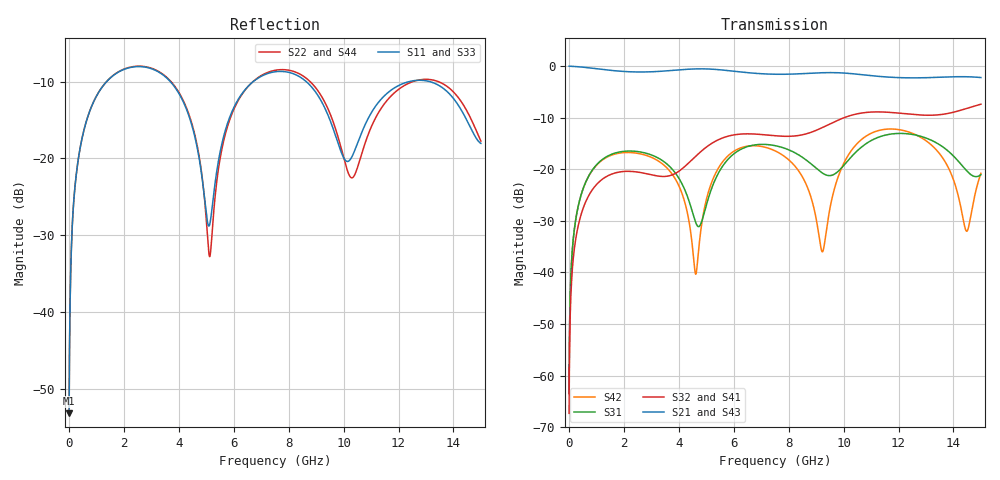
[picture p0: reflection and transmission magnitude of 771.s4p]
! Created with skrf 1.8.0 (http://scikit-rf.org).
# GHz S RI R 50.0
!freq ReS11 ImS11 ReS12 ImS12 ReS13 ImS13
! ReS14 ImS14
! ReS21 ImS21 ReS22 ImS22 ReS23 ImS23
! ReS24 ImS24
! ReS31 ImS31 ReS32 ImS32 ReS33 ImS33
! ReS34 ImS34
! ReS41 ImS41 ReS42 ImS42 ReS43 ImS43
! ReS44 ImS44
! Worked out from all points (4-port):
!   2499 points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, 5 MHz to 15 GHz, reference 50 ohm
!   strongest paths, dB at 5 MHz, 3.476 GHz, 7.19 GHz, 11.1 GHz, 15 GHz:
!     S21: 0.0, -1.0, -1.5, -1.9, -2.2
!     S43: 0.0, -1.0, -1.5, -1.9, -2.2
!     S32: -67.3, -21.4, -13.4, -8.9, -7.4
!     S41: -67.3, -21.4, -13.4, -8.9, -7.4
!     S31: -63.5, -18.6, -15.2, -14.2, -21.1
!     S42: -63.5, -19.3, -15.8, -12.8, -20.8
!   lowest |S11| = -53.1 dB at 5 MHz (marker M1), VSWR 1.00, Z = 50.2 + j0.135 ohm
!   |S11| at or under -10 dB: 3.687 GHz to 6.714 GHz (3.027 GHz wide, 58.2 % of centre); 8.636 GHz to 12.4 GHz (3.764 GHz wide, 35.8 % of centre); 13.12 GHz to end of sweep (the widest 3 of 4)
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0.005  0.00176 0.00134  0.9982 -0.00342  8.76e-05 0.000664  -8.52e-05 -0.000422
       0.9982 -0.00342  0.00176 0.00134  -8.52e-05 -0.000422  8.74e-05 0.000664
       8.76e-05 0.000664  -8.52e-05 -0.000422  0.00176 0.00134  0.9982 -0.00342
       -8.52e-05 -0.000422  8.74e-05 0.000664  0.9982 -0.00342  0.00176 0.00134
0.3126303  0.027 0.0877  0.9631 -0.2123  0.0123 0.039  -0.01 -0.0245
           0.9631 -0.2123  0.0271 0.0876  -0.01 -0.0245  0.0117 0.0392
           0.0123 0.039  -0.01 -0.0245  0.027 0.0877  0.9631 -0.2123
           -0.01 -0.0245  0.0117 0.0392  0.9631 -0.2123  0.0271 0.0876
1.519383  0.2858 0.1748  0.5151 -0.7493  0.1301 0.0477  -0.0889 -0.00113
          0.5151 -0.7493  0.2882 0.173  -0.089 -0.00104  0.1229 0.0583
          0.1301 0.0477  -0.089 -0.00104  0.2857 0.1749  0.5151 -0.7493
          -0.0889 -0.00113  0.1229 0.0583  0.5151 -0.7493  0.2883 0.1729
5.120884  0.0367 0.00509  -0.9348 -0.0476  -0.0105 0.0562  -0.00467 0.1725
          -0.9348 -0.0476  0.023 -0.00176  -0.00335 0.1726  0.0211 0.062
          -0.0105 0.0562  -0.00335 0.1726  0.0366 0.00458  -0.9348 -0.0475
          -0.00467 0.1725  0.0211 0.062  -0.9348 -0.0475  0.0232 -0.00212
7.790746  0.3672 -0.00916  -0.0459 0.8317  0.1258 -0.1017  0.2033 -0.0442
          -0.0459 0.8317  0.3775 -0.0127  0.2036 -0.047  0.1255 -0.0536
          0.1258 -0.1017  0.2036 -0.047  0.3681 -0.00833  -0.0452 0.8312
          0.2033 -0.0442  0.1255 -0.0536  -0.0452 0.8312  0.3792 -0.014
10.57941  0.1218 0.0596  0.8279 -0.0631  0.0191 0.1568  -0.045 -0.3447
          0.8279 -0.0631  0.0889 0.0366  -0.0502 -0.3443  0.0805 0.1685
          0.0191 0.1568  -0.0502 -0.3443  0.1212 0.0544  0.8281 -0.0632
          -0.045 -0.3447  0.0805 0.1685  0.8281 -0.0632  0.0892 0.0332
15  0.1238 -0.0196  -0.6939 -0.3439  -0.079 0.0399  -0.1884 0.3836
    -0.6939 -0.3439  0.1122 -0.0652  -0.1798 0.3875  -0.0222 0.0885
    -0.079 0.0399  -0.1798 0.3875  0.1208 -0.0154  -0.6969 -0.3386
    -0.1884 0.3836  -0.0222 0.0885  -0.6969 -0.3386  0.1098 -0.0589
